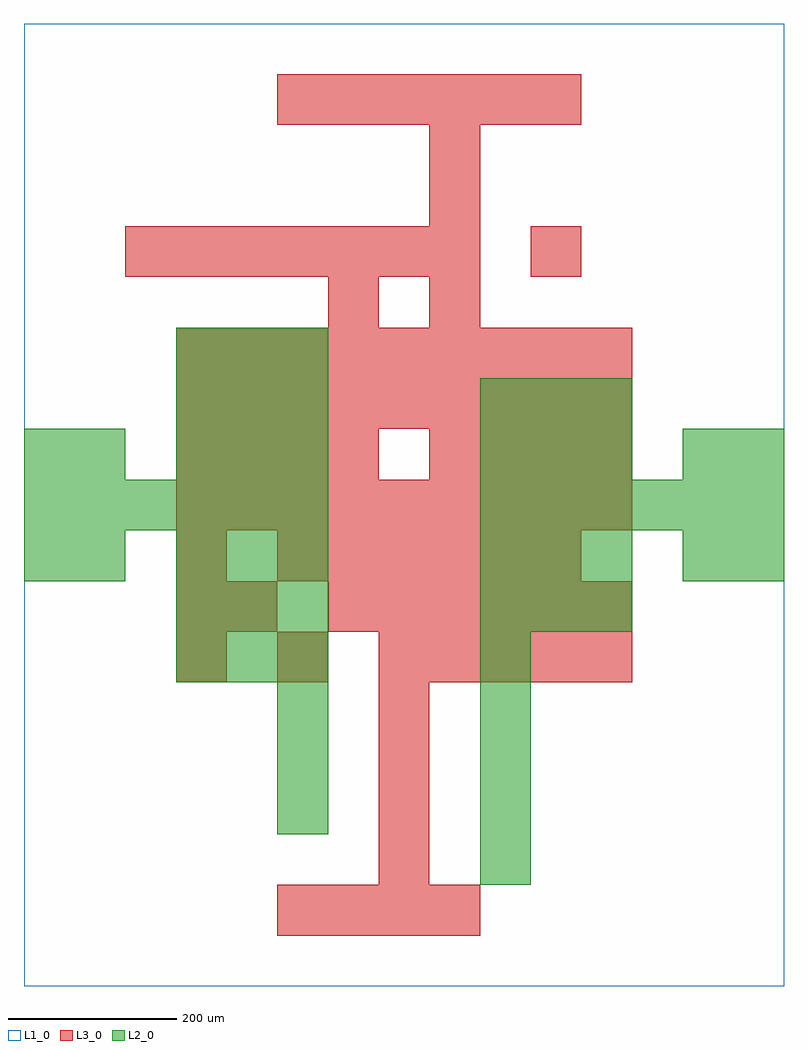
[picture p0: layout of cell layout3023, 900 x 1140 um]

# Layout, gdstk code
import gdstk
lib = gdstk.Library(unit=1e-6, precision=1e-09)
def R(c, l, rs):  # rectangles x0, y0, x1, y1
    for r in rs: c.add(gdstk.rectangle(r[:2], r[2:], *l))
def A(c, l, x, y, w, h, nx, ny, dx, dy):  # array of equal rectangles
    R(c, l, [(x+i*dx, y+j*dy, x+i*dx+w, y+j*dy+h) for i in range(nx) for j in range(ny)])
L1_0 = (1, 0)
L2_0 = (2, 0)
L3_0 = (3, 0)

layout3023 = lib.new_cell('layout3023')
R(layout3023, L1_0, [(0,0,900,1140)])
A(layout3023, L2_0, 540, 120, 60, 60, 1, 5, 0, 60)
A(layout3023, L2_0, 300, 180, 60, 60, 1, 3, 0, 60)
A(layout3023, L2_0, 180, 360, 60, 60, 3, 3, 60, 60)
A(layout3023, L2_0, 540, 420, 60, 60, 3, 2, 60, 60)
A(layout3023, L2_0, 0, 540, 60, 60, 6, 1, 60, 0)
A(layout3023, L2_0, 540, 540, 60, 60, 6, 1, 60, 0)
A(layout3023, L2_0, 180, 600, 60, 60, 3, 3, 60, 60)
A(layout3023, L2_0, 540, 600, 60, 60, 3, 2, 60, 60)
R(layout3023, L2_0, [(0,480,60,540), (60,480,120,540), (780,480,840,540), (840,480,900,540), (0,600,60,660), (60,600,120,660), (780,600,840,660), (840,600,900,660)])
A(layout3023, L3_0, 300, 60, 60, 60, 4, 1, 60, 0)
A(layout3023, L3_0, 420, 120, 60, 60, 1, 4, 0, 60)
A(layout3023, L3_0, 180, 360, 60, 60, 3, 1, 120, 0)
A(layout3023, L3_0, 480, 360, 60, 60, 4, 2, 60, 240)
A(layout3023, L3_0, 360, 420, 60, 60, 6, 1, 60, 0)
A(layout3023, L3_0, 300, 480, 60, 60, 6, 2, 60, 540)
A(layout3023, L3_0, 180, 540, 60, 60, 9, 2, 60, 120)
A(layout3023, L3_0, 180, 600, 60, 60, 4, 1, 60, 0)
A(layout3023, L3_0, 180, 720, 60, 60, 9, 1, 60, 0)
A(layout3023, L3_0, 120, 840, 60, 60, 7, 1, 60, 0)
R(layout3023, L3_0, [(180,420,240,480), (240,420,300,480), (180,480,240,540), (360,780,420,840), (480,780,540,840), (600,840,660,900), (480,900,540,960), (480,960,540,1020)])

lib.write_gds('layout3023.gds')
